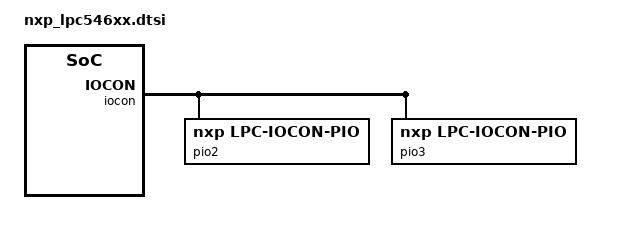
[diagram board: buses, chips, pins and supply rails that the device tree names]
#include <nxp/nxp_lpc54xxx_m4.dtsi>
/ {
	soc {
                gpio2: gpio@2 {
                        compatible = "nxp,lpc-gpio";
                        reg = <0x4008C000 0x2488>;
                        label = "GPIO_2";
                        gpio-controller;
                        #gpio-cells = <2>;
                        port = <2>;
                };
                gpio3: gpio@3 {
                        compatible = "nxp,lpc-gpio";
                        reg = <0x4008C000 0x2488>;
                        label = "GPIO_3";
                        gpio-controller;
                        #gpio-cells = <2>;
	                port = <3>;
                };
		flexcomm8: flexcomm@40099000 {
			compatible = "nxp,lpc-flexcomm";			
			reg = <0x40099000 0x1000>;
			interrupts = <40 0>;
			clocks = <&syscon MCUX_FLEXCOMM8_CLK>;
			label = "FLEXCOMM_8";
			status = "disabled";
		};
		flexcomm9: flexcomm@4009A000 {
			compatible = "nxp,lpc-flexcomm";			
			reg = <0x4009A000 0x1000>;
			interrupts = <41 0>;
			clocks = <&syscon MCUX_FLEXCOMM9_CLK>;
			label = "FLEXCOMM_9";
			status = "disabled";
		};
	};
};

&flash0 {
	reg = <0 DT_SIZE_K(512)>;
	erase-block-size = <512>;
	write-block-size = <512>;
};

&iocon {
	reg = <0x40001000 0x200>;
	ranges = <0x0 0x40001000 0x200>;
	pio2: pio0@100 {
		compatible = "nxp,lpc-iocon-pio";
                reg = <0x100 0x80>;
	};
	pio3: pio0@180 {
		compatible = "nxp,lpc-iocon-pio";
                reg = <0x180 0x80>;
	};
};
